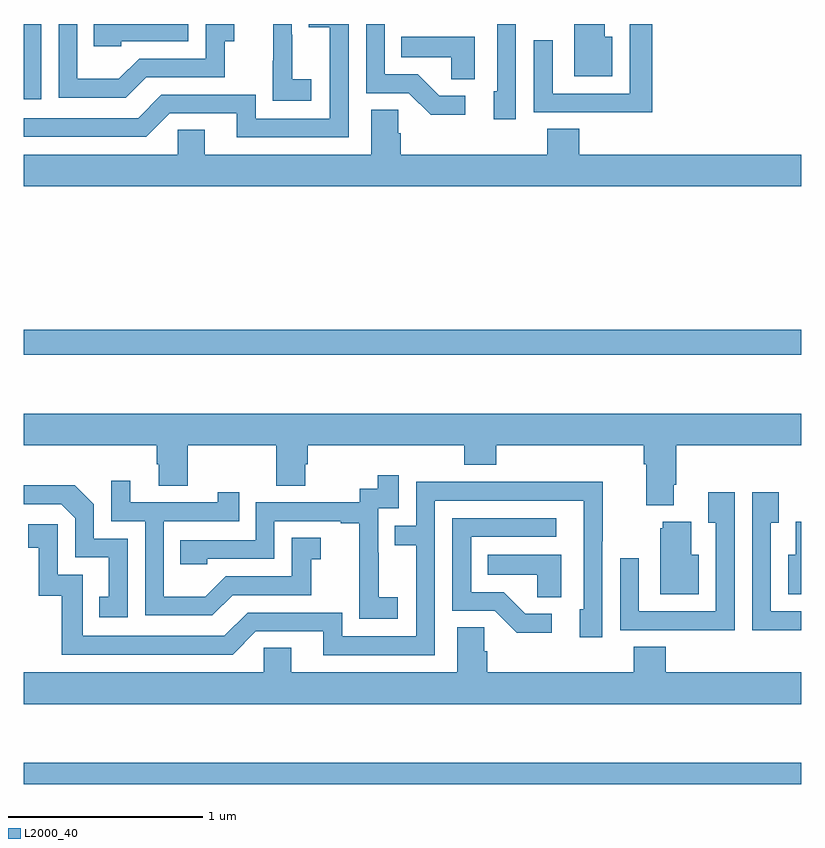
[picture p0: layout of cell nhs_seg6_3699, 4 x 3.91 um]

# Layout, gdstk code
import gdstk
lib = gdstk.Library(unit=1e-6, precision=1e-09)
def R(c, l, rs):  # rectangles x0, y0, x1, y1
    for r in rs: c.add(gdstk.rectangle(r[:2], r[2:], *l))
def P(c, l, *ps):  # polygons
    for p in ps: c.add(gdstk.Polygon(p, *l))
L2000_40 = (2000, 40)

nhs_seg6_3699 = lib.new_cell('nhs_seg6_3699')
R(nhs_seg6_3699, L2000_40, [(327,949.59,331,949.699), (327,951.798,331,951.926), (327,953.112,327.09,953.5)])
P(nhs_seg6_3699, L2000_40, [(328.671,953.5),(328.465,953.5),(328.465,953.482),(328.575,953.482),(328.575,953.013),(328.194,953.013),(328.194,953.136),(327.708,953.136),(327.588,953.016),(327,953.016),(327,952.92),(327.63,952.92),(327.75,953.04),(328.097,953.04),(328.097,952.917),(328.671,952.917)],
  [(330.028,953.434),(329.989,953.434),(329.989,953.5),(329.831,953.5),(329.831,953.231),(330.028,953.231)],
  [(330.233,953.5),(330.117,953.5),(330.117,953.142),(329.721,953.142),(329.721,953.416),(329.625,953.416),(329.625,953.046),(329.941,953.046),(329.941,953.045),(330.233,953.045)],
  [(328.48,953.215),(328.382,953.215),(328.382,953.444),(328.38,953.444),(328.38,953.5),(328.283,953.5),(328.283,953.311),(328.282,953.311),(328.282,953.105),(328.48,953.105)],
  [(327.501,953.412),(327.846,953.412),(327.846,953.5),(327.361,953.5),(327.361,953.385),(327.501,953.385)],
  [(327.631,953.226),(328.035,953.226),(328.035,953.411),(328.084,953.411),(328.084,953.5),(327.936,953.5),(327.936,953.322),(327.594,953.322),(327.49,953.218),(327.276,953.218),(327.276,953.5),(327.18,953.5),(327.18,953.121),(327.526,953.121)],
  [(329.532,953.5),(329.436,953.5),(329.436,953.154),(329.417,953.154),(329.417,953.01),(329.532,953.01)],
  [(329.272,953.13),(329.137,953.13),(329.026,953.241),(328.857,953.241),(328.857,953.5),(328.761,953.5),(328.761,953.145),(328.98,953.145),(329.093,953.033),(329.272,953.033)],
  [(329.32,953.434),(328.942,953.434),(328.942,953.33),(329.199,953.33),(329.199,953.215),(329.32,953.215)],
  [(331,952.828),(329.858,952.828),(329.858,952.961),(329.693,952.961),(329.693,952.828),(328.94,952.828),(328.94,952.937),(328.926,952.937),(328.926,953.06),(328.787,953.06),(328.787,952.828),(327.931,952.828),(327.931,952.955),(327.792,952.955),(327.792,952.828),(327,952.828),(327,952.664),(331,952.664)],
  [(330.343,951.13),(330.356,951.13),(330.356,951.332),(331,951.332),(331,951.496),(327,951.496),(327,951.332),(327.683,951.332),(327.683,951.234),(327.695,951.234),(327.695,951.124),(327.843,951.124),(327.843,951.332),(328.3,951.332),(328.3,951.124),(328.447,951.124),(328.447,951.234),(328.46,951.234),(328.46,951.332),(329.267,951.332),(329.267,951.233),(329.432,951.233),(329.432,951.332),(330.191,951.332),(330.191,951.236),(330.203,951.236),(330.203,951.023),(330.343,951.023)],
  [(328.924,950.551),(328.826,950.551),(328.826,950.78),(328.824,950.78),(328.824,951.009),(328.929,951.009),(328.929,951.178),(328.821,951.178),(328.821,951.108),(328.728,951.108),(328.728,951.039),(328.194,951.039),(328.194,950.844),(327.805,950.844),(327.805,950.721),(327.945,950.721),(327.945,950.748),(328.29,950.748),(328.29,950.943),(328.631,950.943),(328.631,950.931),(328.727,950.931),(328.727,950.647),(328.726,950.647),(328.726,950.441),(328.924,950.441)],
  [(328.075,950.562),(328.479,950.562),(328.479,950.747),(328.528,950.747),(328.528,950.857),(328.38,950.857),(328.38,950.658),(328.038,950.658),(327.934,950.554),(327.72,950.554),(327.72,950.943),(328.109,950.943),(328.109,951.091),(327.998,951.091),(327.998,951.039),(327.547,951.039),(327.547,951.151),(327.45,951.151),(327.45,950.943),(327.624,950.943),(327.624,950.457),(327.97,950.457)],
  [(329.115,951.048),(329.88,951.048),(329.88,950.49),(329.861,950.49),(329.861,950.346),(329.976,950.346),(329.976,950.839),(329.979,950.839),(329.979,951.146),(329.515,951.146),(329.515,951.144),(329.019,951.144),(329.019,950.919),(328.909,950.919),(328.909,950.818),(329.019,950.818),(329.019,950.349),(328.638,950.349),(328.638,950.472),(328.152,950.472),(328.032,950.352),(327.303,950.352),(327.303,950.667),(327.174,950.667),(327.174,950.926),(327.024,950.926),(327.024,950.805),(327.077,950.805),(327.077,950.559),(327.195,950.559),(327.195,950.256),(328.074,950.256),(328.194,950.376),(328.541,950.376),(328.541,950.253),(329.115,950.253)],
  [(327.534,950.853),(327.36,950.853),(327.36,951.03),(327.262,951.128),(327,951.128),(327,951.03),(327.192,951.03),(327.264,950.958),(327.264,950.757),(327.437,950.757),(327.437,950.553),(327.388,950.553),(327.388,950.448),(327.534,950.448)],
  [(331,950.478),(330.843,950.478),(330.843,950.935),(330.883,950.935),(330.883,951.091),(330.747,951.091),(330.747,950.381),(331,950.381)],
  [(330.657,951.091),(330.521,951.091),(330.521,950.935),(330.561,950.935),(330.561,950.478),(330.165,950.478),(330.165,950.752),(330.069,950.752),(330.069,950.382),(330.385,950.382),(330.385,950.381),(330.657,950.381)],
  [(329.716,950.466),(329.581,950.466),(329.47,950.577),(329.301,950.577),(329.301,950.862),(329.74,950.862),(329.74,950.958),(329.205,950.958),(329.205,950.481),(329.424,950.481),(329.537,950.369),(329.716,950.369)],
  [(330.472,950.77),(330.433,950.77),(330.433,950.938),(330.287,950.938),(330.287,950.907),(330.275,950.907),(330.275,950.567),(330.472,950.567)],
  [(331,950.938),(330.971,950.938),(330.971,950.77),(330.932,950.77),(330.932,950.567),(331,950.567)],
  [(329.764,950.77),(329.386,950.77),(329.386,950.666),(329.643,950.666),(329.643,950.551),(329.764,950.551)],
  [(331,950.164),(330.302,950.164),(330.302,950.297),(330.137,950.297),(330.137,950.164),(329.384,950.164),(329.384,950.273),(329.37,950.273),(329.37,950.396),(329.231,950.396),(329.231,950.164),(328.375,950.164),(328.375,950.291),(328.236,950.291),(328.236,950.164),(327,950.164),(327,950),(331,950)])

lib.write_gds('nhs_seg6_3699.gds')
